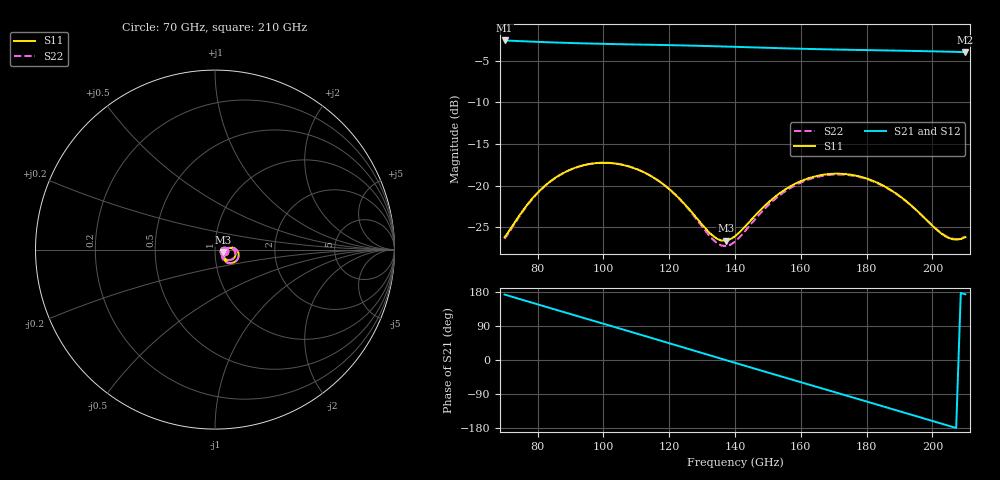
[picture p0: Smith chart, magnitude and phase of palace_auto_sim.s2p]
#  GHZ S DB R 50
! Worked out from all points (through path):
!   101 points, 70 GHz to 210 GHz, reference 50 ohm
!   highest |S21| = -2.59 dB at 70 GHz (marker M1); lowest = -4.0 dB at 210 GHz (marker M2)
!   group delay of S21, straight-line fit = 7.13 ps
!   lowest |S11| = -26.6 dB at 137.2 GHz (marker M3), VSWR 1.10, Z = 54.6 - j1.53 ohm
!   |S11| at or under -10 dB: start of sweep to end of sweep
!   |S22| runs from -27.3 to -17.3 dB; largest |S21 - S12| = 8.5e-14
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70  -26.20 -6.8  -2.59 172.7  -2.59 172.7  -26.39 -7.4
75.6  -22.97 7.6  -2.68 158.3  -2.68 158.3  -23.07 7.4
81.2  -20.40 7.3  -2.77 143.8  -2.77 143.8  -20.45 7.0
88.2  -18.42 -0.4  -2.87 125.9  -2.87 125.9  -18.44 -0.9
93.8  -17.58 -8.7  -2.93 111.6  -2.93 111.6  -17.58 -9.4
99.4  -17.27 -17.7  -2.99 97.3  -2.99 97.3  -17.26 -18.6
105  -17.44 -26.8  -3.03 82.9  -3.03 82.9  -17.43 -27.9
110.6  -18.10 -35.5  -3.08 68.6  -3.08 68.6  -18.08 -36.8
117.6  -19.67 -44.4  -3.13 50.5  -3.13 50.5  -19.66 -46.3
127.4  -23.45 -46.9  -3.21 25.1  -3.21 25.1  -23.58 -50.1
133  -25.94 -34.9  -3.27 10.7  -3.27 10.7  -26.36 -38.3
137.2  -26.62 -17.5  -3.32 -0.2  -3.32 -0.2  -27.27 -19.5
140  -26.08 -6.2  -3.35 -7.4  -3.35 -7.4  -26.74 -6.8
151.2  -21.66 7.0  -3.48 -36.1  -3.48 -36.1  -21.95 8.1
158.2  -19.80 1.1  -3.56 -54.0  -3.56 -54.0  -19.98 1.9
163.8  -18.95 -6.2  -3.62 -68.3  -3.62 -68.3  -19.09 -5.5
175  -18.69 -22.7  -3.71 -96.8  -3.71 -96.8  -18.77 -22.2
180.6  -19.24 -30.6  -3.75 -111.1  -3.75 -111.1  -19.30 -30.2
187.6  -20.60 -38.6  -3.79 -129.1  -3.79 -129.1  -20.64 -38.2
198.8  -24.37 -39.1  -3.88 -157.8  -3.88 -157.8  -24.36 -38.8
204.4  -26.19 -26.6  -3.93 -172.2  -3.93 -172.2  -26.14 -26.4
210  -26.20 -7.7  -3.99 173.4  -3.99 173.4  -26.12 -7.9
